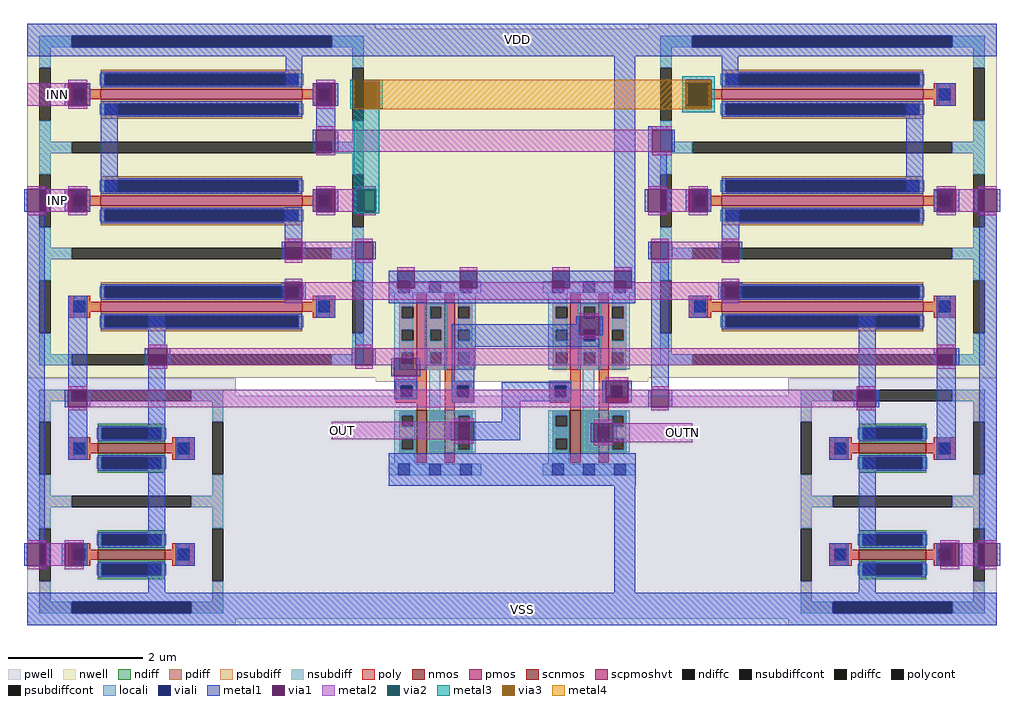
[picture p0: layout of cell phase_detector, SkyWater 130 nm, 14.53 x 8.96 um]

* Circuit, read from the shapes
.subckt phase_detector OUT OUTN INN INP VDD VSS
XM1 n1 INP VSS VSS sky130_fd_pr__nfet_01v8 w=1 l=0.15
XM2 sky130_fd_sc_hd__nand2_1_0/B sky130_fd_sc_hd__nand2_1_1/A n1 VSS sky130_fd_pr__nfet_01v8 w=1 l=0.15
XM3 n2 sky130_fd_sc_hd__nand2_1_0/B VSS VSS sky130_fd_pr__nfet_01v8 w=0.65 l=0.15
XM4 OUT OUTN n2 VSS sky130_fd_pr__nfet_01v8 w=0.65 l=0.15
XM5 n3 OUT VSS VSS sky130_fd_pr__nfet_01v8 w=0.65 l=0.15
XM6 OUTN sky130_fd_sc_hd__nand2_1_1/A n3 VSS sky130_fd_pr__nfet_01v8 w=0.65 l=0.15
XM7 n4 INN VSS VSS sky130_fd_pr__nfet_01v8 w=1 l=0.15
XM8 sky130_fd_sc_hd__nand2_1_1/A sky130_fd_sc_hd__nand2_1_0/B n4 VSS sky130_fd_pr__nfet_01v8 w=1 l=0.15
XM9 VDD sky130_fd_sc_hd__nand2_1_1/A sky130_fd_sc_hd__nand2_1_0/B VDD sky130_fd_pr__pfet_01v8 w=3 l=0.15
XM10 n5 INP sky130_fd_sc_hd__nand2_1_0/B VDD sky130_fd_pr__pfet_01v8 w=3 l=0.15
XM11 VDD INN n5 VDD sky130_fd_pr__pfet_01v8 w=3 l=0.15
XM12 OUT sky130_fd_sc_hd__nand2_1_0/B VDD VDD sky130_fd_pr__pfet_01v8_hvt w=1 l=0.15
XM13 VDD OUTN OUT VDD sky130_fd_pr__pfet_01v8_hvt w=1 l=0.15
XM14 OUTN OUT VDD VDD sky130_fd_pr__pfet_01v8_hvt w=1 l=0.15
XM15 VDD sky130_fd_sc_hd__nand2_1_1/A OUTN VDD sky130_fd_pr__pfet_01v8_hvt w=1 l=0.15
XM16 VDD sky130_fd_sc_hd__nand2_1_0/B sky130_fd_sc_hd__nand2_1_1/A VDD sky130_fd_pr__pfet_01v8 w=3 l=0.15
XM17 n6 INN sky130_fd_sc_hd__nand2_1_1/A VDD sky130_fd_pr__pfet_01v8 w=3 l=0.15
XM18 VDD INP n6 VDD sky130_fd_pr__pfet_01v8 w=3 l=0.15
.ends

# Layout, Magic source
magic
tech sky130A
magscale 1 2
<< nwell >>
rect -1174 918 1367 1956
rect 199 905 372 918
<< pwell >>
rect -872 200 1164 864
<< viali >>
rect -1042 1902 -268 1936
rect 806 1902 1580 1936
rect 483 1027 517 1061
rect -62 859 -28 893
rect 106 859 140 893
rect 396 859 430 893
rect 564 859 598 893
rect 109 737 143 771
rect 525 737 559 771
rect -1042 216 -686 250
rect 1224 216 1580 250
<< metal1 >>
rect -1174 1936 1712 1972
rect -1174 1902 -1042 1936
rect -268 1902 806 1936
rect 1580 1902 1712 1936
rect -1174 1875 1712 1902
rect -1062 1728 -1052 1794
rect -996 1728 -986 1794
rect -405 1782 -355 1875
rect -1184 1412 -1174 1478
rect -1118 1412 -1108 1478
rect -1062 1412 -1052 1478
rect -996 1412 -986 1478
rect -955 1466 -905 1740
rect -324 1728 -314 1794
rect -258 1728 -248 1794
rect -314 1656 -258 1728
rect -324 1590 -314 1656
rect -258 1590 -248 1656
rect -1174 424 -1122 1412
rect -407 1322 -355 1425
rect -324 1412 -314 1478
rect -258 1412 -248 1478
rect -417 1270 -407 1322
rect -355 1270 -345 1322
rect -208 1270 -198 1322
rect -146 1270 -136 1322
rect -1052 882 -996 1162
rect -417 1150 -407 1202
rect -355 1150 -345 1202
rect -814 1006 -764 1108
rect -314 1096 -258 1162
rect -198 1006 -146 1270
rect 573 1236 636 1875
rect 786 1728 796 1794
rect 852 1728 862 1794
rect 893 1782 943 1875
rect 674 1656 730 1666
rect 674 1590 687 1656
rect 744 1590 754 1656
rect 674 1478 730 1590
rect 664 1412 674 1478
rect 730 1412 740 1478
rect 786 1412 796 1478
rect 852 1412 862 1478
rect 1443 1466 1493 1740
rect 1534 1728 1590 1794
rect 893 1322 945 1424
rect 1524 1412 1534 1478
rect 1590 1412 1600 1478
rect 1646 1412 1656 1478
rect 1712 1412 1722 1478
rect 674 1270 684 1322
rect 736 1270 746 1322
rect 883 1270 893 1322
rect 945 1270 955 1322
rect -98 1184 -72 1236
rect -20 1184 113 1236
rect 165 1184 389 1236
rect 441 1184 573 1236
rect 625 1184 636 1236
rect -98 1140 636 1184
rect 461 1077 471 1100
rect 90 1044 471 1077
rect 529 1044 539 1100
rect 90 1027 483 1044
rect 517 1027 529 1044
rect 90 1010 529 1027
rect -824 954 -814 1006
rect -758 954 -748 1006
rect -208 954 -198 1006
rect -146 954 -136 1006
rect -1062 830 -1052 882
rect -996 830 -986 882
rect -1052 674 -996 830
rect -814 728 -764 954
rect -91 922 -81 976
rect -14 922 -4 976
rect -81 893 -14 922
rect -81 859 -62 893
rect -28 859 -14 893
rect -81 853 -14 859
rect 90 893 157 1010
rect 90 859 106 893
rect 140 859 157 893
rect 90 843 157 859
rect 238 893 446 904
rect 238 859 396 893
rect 430 859 446 893
rect 238 848 446 859
rect 238 787 294 848
rect 538 843 548 909
rect 615 843 625 909
rect 684 882 736 1270
rect 796 1096 852 1162
rect 883 1150 893 1202
rect 945 1150 955 1202
rect 1302 882 1352 1108
rect 1534 1006 1590 1162
rect 1524 954 1534 1006
rect 1590 954 1600 1006
rect 674 830 684 882
rect 736 830 746 882
rect 1286 830 1296 882
rect 1352 830 1362 882
rect -1184 358 -1174 424
rect -1118 358 -1108 424
rect -1072 358 -1062 424
rect -1006 358 -996 424
rect -814 412 -764 686
rect -732 674 -676 740
rect 87 731 97 787
rect 155 731 294 787
rect 503 726 513 782
rect 571 726 581 782
rect -98 596 637 692
rect 1214 674 1270 740
rect 1302 728 1352 830
rect -814 277 -764 370
rect -732 358 -676 424
rect 573 277 636 596
rect 1214 358 1270 424
rect 1302 412 1352 686
rect 1534 674 1590 954
rect 1660 424 1712 1412
rect 1302 277 1352 368
rect 1534 358 1544 424
rect 1600 358 1610 424
rect 1646 358 1656 424
rect 1712 358 1722 424
rect -1174 250 1712 277
rect -1174 216 -1042 250
rect -686 216 1224 250
rect 1580 216 1712 250
rect -1174 180 1712 216
<< via1 >>
rect -1052 1728 -996 1794
rect -1174 1412 -1118 1478
rect -1052 1412 -996 1478
rect -314 1728 -258 1794
rect -314 1590 -258 1656
rect -314 1412 -258 1478
rect -407 1270 -355 1322
rect -198 1270 -146 1322
rect -407 1150 -355 1202
rect 796 1728 852 1794
rect 687 1590 744 1656
rect 674 1412 730 1478
rect 796 1412 852 1478
rect 1534 1412 1590 1478
rect 1656 1412 1712 1478
rect 684 1270 736 1322
rect 893 1270 945 1322
rect -72 1184 -20 1236
rect 113 1184 165 1236
rect 389 1184 441 1236
rect 573 1184 625 1236
rect 471 1061 529 1100
rect 471 1044 483 1061
rect 483 1044 517 1061
rect 517 1044 529 1061
rect -814 954 -758 1006
rect -198 954 -146 1006
rect -1052 830 -996 882
rect -81 922 -14 976
rect 548 893 615 909
rect 548 859 564 893
rect 564 859 598 893
rect 598 859 615 893
rect 548 843 615 859
rect 893 1150 945 1202
rect 1534 954 1590 1006
rect 684 830 736 882
rect 1296 830 1352 882
rect -1174 358 -1118 424
rect -1062 358 -1006 424
rect 97 771 155 787
rect 97 737 109 771
rect 109 737 143 771
rect 143 737 155 771
rect 97 731 155 737
rect 513 771 571 782
rect 513 737 525 771
rect 525 737 559 771
rect 559 737 571 771
rect 513 726 571 737
rect 1544 358 1600 424
rect 1656 358 1712 424
<< metal2 >>
rect -1052 1794 -996 1804
rect -1174 1728 -1052 1794
rect -1052 1718 -996 1728
rect -314 1794 -258 1804
rect -314 1718 -258 1728
rect 796 1794 852 1804
rect 796 1718 852 1728
rect -314 1656 -258 1666
rect 687 1656 744 1666
rect -258 1590 687 1656
rect -314 1580 -258 1590
rect 687 1580 744 1590
rect -1174 1478 -1118 1488
rect -1052 1478 -996 1488
rect -1118 1412 -1052 1478
rect -1174 1402 -1118 1412
rect -1052 1402 -996 1412
rect -314 1478 -258 1488
rect -192 1478 -136 1488
rect -258 1412 -192 1478
rect -314 1402 -258 1412
rect -192 1402 -136 1412
rect 674 1478 730 1488
rect 796 1478 852 1488
rect 730 1412 796 1478
rect 674 1402 730 1412
rect 796 1402 852 1412
rect 1534 1478 1590 1488
rect 1656 1478 1712 1488
rect 1590 1412 1656 1478
rect 1534 1402 1590 1412
rect 1656 1402 1712 1412
rect -407 1322 -355 1332
rect -198 1322 -146 1332
rect -355 1270 -198 1322
rect -407 1260 -355 1270
rect -198 1260 -146 1270
rect 684 1322 736 1332
rect 893 1322 945 1332
rect 736 1270 893 1322
rect 684 1260 736 1270
rect 893 1260 945 1270
rect -72 1236 -20 1246
rect -407 1202 -355 1212
rect -355 1184 -72 1202
rect 113 1236 165 1246
rect -20 1184 113 1202
rect 389 1236 441 1246
rect 165 1184 389 1202
rect 573 1236 625 1246
rect 441 1184 573 1202
rect 893 1202 945 1212
rect 625 1184 893 1202
rect -355 1150 893 1184
rect -407 1140 -355 1150
rect 893 1140 945 1150
rect 471 1100 529 1110
rect 471 1034 529 1044
rect -814 1006 -758 1016
rect -198 1006 -146 1016
rect 1534 1006 1590 1016
rect -758 954 -198 1006
rect -146 976 1534 1006
rect -146 954 -81 976
rect -814 944 -758 954
rect -198 944 -146 954
rect -14 954 1534 976
rect 1534 944 1590 954
rect -81 912 -14 922
rect 548 909 615 919
rect -1052 882 -996 892
rect -996 843 548 882
rect 684 882 736 892
rect 1296 882 1352 892
rect 615 843 684 882
rect -996 830 684 843
rect 736 830 1296 882
rect -1052 820 -996 830
rect 684 820 736 830
rect 1296 820 1352 830
rect 97 787 155 797
rect -268 735 97 787
rect 97 721 155 731
rect 513 782 571 792
rect 571 726 806 782
rect 513 716 571 726
rect -1174 424 -1118 434
rect -1062 424 -1006 434
rect -1118 358 -1062 424
rect -1174 348 -1118 358
rect -1062 348 -1006 358
rect 1544 424 1600 434
rect 1656 424 1712 434
rect 1600 358 1656 424
rect 1544 348 1600 358
rect 1656 348 1712 358
<< via2 >>
rect 796 1728 852 1794
rect -192 1412 -136 1478
<< metal3 >>
rect 776 1804 872 1815
rect -212 1718 -202 1804
rect -126 1718 -116 1804
rect 776 1718 786 1804
rect 862 1718 872 1804
rect -202 1478 -126 1718
rect 776 1708 872 1718
rect -202 1412 -192 1478
rect -136 1412 -126 1478
rect -202 1407 -126 1412
<< via3 >>
rect -202 1718 -126 1804
rect 786 1794 862 1804
rect 786 1728 796 1794
rect 796 1728 852 1794
rect 852 1728 862 1794
rect 786 1718 862 1728
<< metal4 >>
rect -203 1804 863 1805
rect -203 1718 -202 1804
rect -126 1718 786 1804
rect 862 1718 863 1804
rect -203 1717 863 1718
use sky130_fd_sc_hd__nand2_1  sky130_fd_sc_hd__nand2_1_0 $PDKPATH/libs.ref/sky130_fd_sc_hd/mag
transform 1 0 -98 0 1 644
box -38 -48 314 592
use sky130_fd_sc_hd__nand2_1  sky130_fd_sc_hd__nand2_1_1
transform 1 0 360 0 1 644
box -38 -48 314 592
use sky130_fd_pr__pfet_01v8_R8XU9D  XM1
transform 0 1 -655 -1 0 1761
box -211 -519 211 519
use sky130_fd_pr__pfet_01v8_R8XU9D  XM2
transform 0 -1 -655 1 0 1445
box -211 -519 211 519
use sky130_fd_pr__pfet_01v8_R8XU9D  XM3
transform 0 1 1193 -1 0 1761
box -211 -519 211 519
use sky130_fd_pr__pfet_01v8_R8XU9D  XM4
transform 0 1 1193 -1 0 1445
box -211 -519 211 519
use sky130_fd_pr__pfet_01v8_R8XU9D  XM5
transform 0 1 -655 -1 0 1129
box -211 -519 211 519
use sky130_fd_pr__nfet_01v8_TGNW9T  XM6
transform 0 -1 -864 1 0 707
box -211 -310 211 310
use sky130_fd_pr__nfet_01v8_TGNW9T  XM7
transform 0 1 -864 -1 0 391
box -211 -310 211 310
use sky130_fd_pr__pfet_01v8_R8XU9D  XM8
transform 0 1 1193 -1 0 1129
box -211 -519 211 519
use sky130_fd_pr__nfet_01v8_TGNW9T  XM9
transform 0 1 1402 -1 0 707
box -211 -310 211 310
use sky130_fd_pr__nfet_01v8_TGNW9T  XM10
transform 0 1 1402 -1 0 391
box -211 -310 211 310
<< labels >>
flabel metal2 -262 735 -210 787 0 FreeSans 800 0 0 0 OUT
port 0 nsew
flabel metal2 750 726 806 782 0 FreeSans 800 0 0 0 OUTN
port 1 nsew
flabel metal2 -1118 1728 -1052 1794 0 FreeSans 800 0 0 0 INN
port 2 nsew
flabel metal2 -1118 1412 -1052 1478 0 FreeSans 800 0 0 0 INP
port 3 nsew
flabel metal1 237 1875 336 1972 0 FreeSans 800 0 0 0 VDD
port 4 nsew
flabel metal1 252 180 351 277 0 FreeSans 800 0 0 0 VSS
port 5 nsew
<< end >>

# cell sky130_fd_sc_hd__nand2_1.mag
magic
tech sky130A
magscale 1 2
<< nwell >>
rect -38 261 314 582
<< pwell >>
rect 5 21 275 203
rect 28 -17 62 21
<< scnmos >>
rect 83 47 113 177
rect 167 47 197 177
<< scpmoshvt >>
rect 83 297 113 497
rect 167 297 197 497
<< ndiff >>
rect 31 161 83 177
rect 31 127 39 161
rect 73 127 83 161
rect 31 93 83 127
rect 31 59 39 93
rect 73 59 83 93
rect 31 47 83 59
rect 113 47 167 177
rect 197 161 249 177
rect 197 127 207 161
rect 241 127 249 161
rect 197 93 249 127
rect 197 59 207 93
rect 241 59 249 93
rect 197 47 249 59
<< pdiff >>
rect 31 485 83 497
rect 31 451 39 485
rect 73 451 83 485
rect 31 417 83 451
rect 31 383 39 417
rect 73 383 83 417
rect 31 349 83 383
rect 31 315 39 349
rect 73 315 83 349
rect 31 297 83 315
rect 113 485 167 497
rect 113 451 123 485
rect 157 451 167 485
rect 113 417 167 451
rect 113 383 123 417
rect 157 383 167 417
rect 113 349 167 383
rect 113 315 123 349
rect 157 315 167 349
rect 113 297 167 315
rect 197 485 249 497
rect 197 451 207 485
rect 241 451 249 485
rect 197 417 249 451
rect 197 383 207 417
rect 241 383 249 417
rect 197 349 249 383
rect 197 315 207 349
rect 241 315 249 349
rect 197 297 249 315
<< ndiffc >>
rect 39 127 73 161
rect 39 59 73 93
rect 207 127 241 161
rect 207 59 241 93
<< pdiffc >>
rect 39 451 73 485
rect 39 383 73 417
rect 39 315 73 349
rect 123 451 157 485
rect 123 383 157 417
rect 123 315 157 349
rect 207 451 241 485
rect 207 383 241 417
rect 207 315 241 349
<< poly >>
rect 83 497 113 523
rect 167 497 197 523
rect 83 265 113 297
rect 21 249 113 265
rect 21 215 36 249
rect 70 215 113 249
rect 21 199 113 215
rect 83 177 113 199
rect 167 265 197 297
rect 167 249 255 265
rect 167 215 204 249
rect 238 215 255 249
rect 167 199 255 215
rect 167 177 197 199
rect 83 21 113 47
rect 167 21 197 47
<< polycont >>
rect 36 215 70 249
rect 204 215 238 249
<< locali >>
rect 0 527 29 561
rect 63 527 121 561
rect 155 527 213 561
rect 247 527 276 561
rect 17 485 73 527
rect 17 451 39 485
rect 17 417 73 451
rect 17 383 39 417
rect 17 349 73 383
rect 17 315 39 349
rect 17 299 73 315
rect 107 485 173 493
rect 107 451 123 485
rect 157 451 173 485
rect 107 417 173 451
rect 107 383 123 417
rect 157 383 173 417
rect 107 349 173 383
rect 107 315 123 349
rect 157 315 173 349
rect 107 297 173 315
rect 207 485 259 527
rect 241 451 259 485
rect 207 417 259 451
rect 241 383 259 417
rect 207 349 259 383
rect 241 315 259 349
rect 207 299 259 315
rect 19 249 86 265
rect 19 215 36 249
rect 70 215 86 249
rect 19 211 86 215
rect 120 177 154 297
rect 188 249 255 265
rect 188 215 204 249
rect 238 215 255 249
rect 17 161 79 177
rect 17 127 39 161
rect 73 127 79 161
rect 17 93 79 127
rect 17 59 39 93
rect 73 59 79 93
rect 17 17 79 59
rect 120 161 259 177
rect 120 127 207 161
rect 241 127 259 161
rect 120 93 259 127
rect 120 59 207 93
rect 241 59 259 93
rect 120 51 259 59
rect 0 -17 29 17
rect 63 -17 121 17
rect 155 -17 213 17
rect 247 -17 276 17
<< viali >>
rect 29 527 63 561
rect 121 527 155 561
rect 213 527 247 561
rect 29 -17 63 17
rect 121 -17 155 17
rect 213 -17 247 17
<< metal1 >>
rect 0 561 276 592
rect 0 527 29 561
rect 63 527 121 561
rect 155 527 213 561
rect 247 527 276 561
rect 0 496 276 527
rect 0 17 276 48
rect 0 -17 29 17
rect 63 -17 121 17
rect 155 -17 213 17
rect 247 -17 276 17
rect 0 -48 276 -17
<< labels >>
flabel locali s 120 85 154 119 0 FreeSans 250 0 0 0 Y
port 7 nsew
flabel locali s 120 153 154 187 0 FreeSans 250 0 0 0 Y
port 7 nsew
flabel locali s 120 221 154 255 0 FreeSans 250 0 0 0 Y
port 7 nsew
flabel locali s 28 221 62 255 0 FreeSans 250 0 0 0 B
port 8 nsew
flabel locali s 212 221 246 255 0 FreeSans 250 0 0 0 A
port 6 nsew
flabel nwell s 28 527 62 561 0 FreeSans 200 0 0 0 VPB
port 2 nsew
flabel pwell s 28 -17 62 17 0 FreeSans 200 0 0 0 VNB
port 3 nsew
flabel metal1 s 28 -17 62 17 0 FreeSans 200 0 0 0 VGND
port 4 nsew
flabel metal1 s 28 527 62 561 0 FreeSans 200 0 0 0 VPWR
port 5 nsew
rlabel comment s 0 0 0 0 4 nand2_1
<< properties >>
string FIXED_BBOX 0 0 276 544
string path 0.000 0.000 1.380 0.000 
<< end >>

# cell sky130_fd_pr__pfet_01v8_R8XU9D: kit device sky130_fd_pr__pfet_01v8, w 3.0 l 0.15 m 1 nf 1 diffcov 100 polycov 100 guard 1 glc 1 grc 1 gtc 1 gbc 1 tbcov 100 rlcov 100 topc 1 botc 1 poverlap 0 doverlap 1 lmin 0.15 wmin 0.42 class mosfet compatible {sky130_fd_pr__pfet_01v8 sky130_fd_pr__pfet_01v8_lvt sky130_fd_pr__pfet_01v8_hvt sky130_fd_pr__pfet_g5v0d10v5} full_metal 1 viasrc 100 viadrn 100 viagate 100 viagb 0 viagr 0 viagl 0 viagt 0 ad {int((nf+1)/2) * W/nf * 0.29} as {int((nf+2)/2) * W/nf * 0.29} pd {2*int((nf+1)/2) * (W/nf + 0.29)} ps {2*int((nf+2)/2) * (W/nf + 0.29)} nrd {0.29 / W} nrs {0.29 / W} sa 0 sb 0 sd 0 mult 1

# cell sky130_fd_pr__nfet_01v8_TGNW9T: kit device sky130_fd_pr__nfet_01v8, w 1.0 l 0.15 m 1 nf 1 diffcov 100 polycov 100 guard 1 glc 1 grc 1 gtc 1 gbc 1 tbcov 100 rlcov 100 topc 1 botc 1 poverlap 0 doverlap 1 lmin 0.15 wmin 0.42 class mosfet compatible {sky130_fd_pr__nfet_01v8 sky130_fd_pr__nfet_01v8_lvt sky130_fd_bs_flash__special_sonosfet_star sky130_fd_pr__nfet_g5v0d10v5 sky130_fd_pr__nfet_05v0_nvt sky130_fd_pr__nfet_03v3_nvt} full_metal 1 viasrc 100 viadrn 100 viagate 100 viagb 0 viagr 0 viagl 0 viagt 0 ad {int((nf+1)/2) * W/nf * 0.29} as {int((nf+2)/2) * W/nf * 0.29} pd {2*int((nf+1)/2) * (W/nf + 0.29)} ps {2*int((nf+2)/2) * (W/nf + 0.29)} nrd {0.29 / W} nrs {0.29 / W} sa 0 sb 0 sd 0 mult 1
